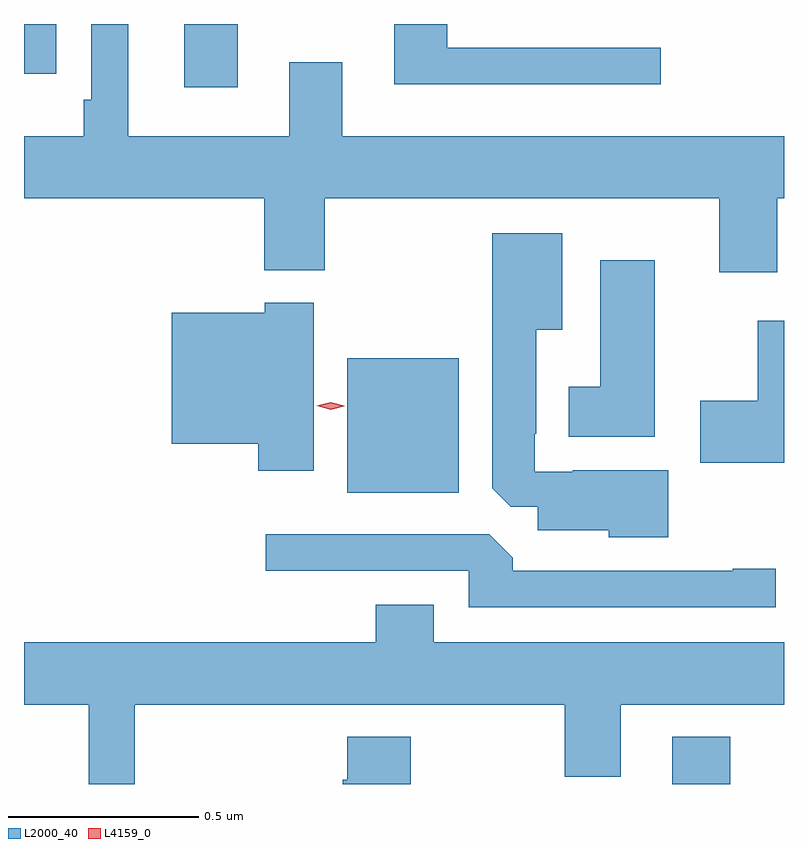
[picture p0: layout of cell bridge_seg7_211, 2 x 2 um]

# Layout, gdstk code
import gdstk
lib = gdstk.Library(unit=1e-6, precision=1e-09)
def R(c, l, rs):  # rectangles x0, y0, x1, y1
    for r in rs: c.add(gdstk.rectangle(r[:2], r[2:], *l))
def P(c, l, *ps):  # polygons
    for p in ps: c.add(gdstk.Polygon(p, *l))
L2000_40 = (2000, 40)
L4159_0 = (4159, 0)

bridge_seg7_211 = lib.new_cell('bridge_seg7_211')
R(bridge_seg7_211, L2000_40, [(134.471,1013.727,134.624,1013.851), (133.616,1014.494,133.909,1014.847), (133.187,1015.56,133.327,1015.727), (132.765,1015.596,132.85,1015.727)])
P(bridge_seg7_211, L2000_40, [(134.747,1015.268),(134.765,1015.268),(134.765,1015.432),(133.603,1015.432),(133.603,1015.627),(133.463,1015.627),(133.463,1015.432),(133.039,1015.432),(133.039,1015.727),(132.942,1015.727),(132.942,1015.528),(132.922,1015.528),(132.922,1015.432),(132.765,1015.432),(132.765,1015.268),(133.397,1015.268),(133.397,1015.079),(133.557,1015.079),(133.557,1015.268),(134.594,1015.268),(134.594,1015.074),(134.747,1015.074)],
  [(134.44,1015.665),(133.879,1015.665),(133.879,1015.727),(133.739,1015.727),(133.739,1015.568),(134.44,1015.568)],
  [(134.461,1014.553),(134.209,1014.553),(134.209,1014.549),(134.109,1014.549),(134.109,1014.649),(134.113,1014.649),(134.113,1014.923),(134.182,1014.923),(134.182,1015.177),(133.997,1015.177),(133.997,1014.505),(134.046,1014.456),(134.117,1014.456),(134.117,1014.395),(134.304,1014.395),(134.304,1014.377),(134.461,1014.377)],
  [(134.425,1015.105),(134.282,1015.105),(134.282,1014.772),(134.198,1014.772),(134.198,1014.641),(134.425,1014.641)],
  [(133.528,1014.994),(133.398,1014.994),(133.398,1014.967),(133.154,1014.967),(133.154,1014.623),(133.382,1014.623),(133.382,1014.552),(133.528,1014.552)],
  [(134.765,1014.946),(134.696,1014.946),(134.696,1014.735),(134.544,1014.735),(134.544,1014.572),(134.765,1014.572)],
  [(134.743,1014.293),(134.63,1014.293),(134.63,1014.288),(134.051,1014.288),(134.051,1014.322),(133.989,1014.384),(133.401,1014.384),(133.401,1014.288),(133.935,1014.288),(133.935,1014.192),(134.743,1014.192)],
  [(133.057,1013.936),(134.188,1013.936),(134.188,1013.746),(134.335,1013.746),(134.335,1013.936),(134.765,1013.936),(134.765,1014.1),(133.843,1014.1),(133.843,1014.199),(133.691,1014.199),(133.691,1014.1),(132.765,1014.1),(132.765,1013.936),(132.935,1013.936),(132.935,1013.727),(133.057,1013.727)],
  [(133.783,1013.851),(133.616,1013.851),(133.616,1013.738),(133.604,1013.738),(133.604,1013.727),(133.783,1013.727)])
P(bridge_seg7_211, L4159_0, [(133.572,1014.712),(133.535,1014.723),(133.535,1014.723),(133.535,1014.723),(133.572,1014.732),(133.608,1014.722),(133.608,1014.722),(133.608,1014.721)])

lib.write_gds('bridge_seg7_211.gds')
